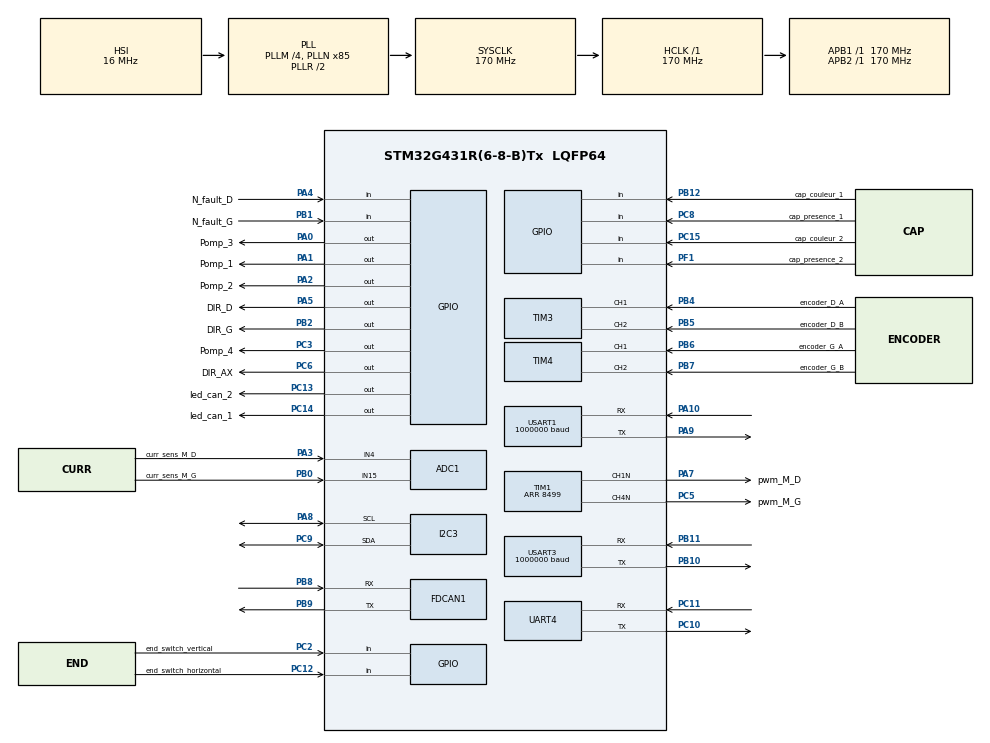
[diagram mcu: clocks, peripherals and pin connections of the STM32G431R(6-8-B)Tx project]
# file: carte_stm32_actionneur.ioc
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ADC1.Channel-1\#ChannelRegularConversion=ADC_CHANNEL_4
ADC1.NbrOfConversionFlag=1
ADC1.OffsetNumber-1\#ChannelRegularConversion=ADC_OFFSET_NONE
ADC1.Rank-1\#ChannelRegularConversion=1
ADC1.SamplingTime-1\#ChannelRegularConversion=ADC_SAMPLETIME_2CYCLES_5
ADC1.master=1
FDCAN1.CalculateBaudRateNominal=499999
FDCAN1.CalculateTimeBitNominal=2000
FDCAN1.CalculateTimeQuantumNominal=23.529411764705884
FDCAN1.DataPrescaler=10
FDCAN1.DataSyncJumpWidth=11
FDCAN1.DataTimeSeg1=22
FDCAN1.DataTimeSeg2=11
FDCAN1.NominalPrescaler=4
FDCAN1.NominalSyncJumpWidth=28
FDCAN1.NominalTimeSeg1=56
FDCAN1.NominalTimeSeg2=28
I2C3.Timing=0x40B285C2
Mcu.Family=STM32G4
Mcu.Name=STM32G431R(6-8-B)Tx
Mcu.Package=LQFP64
NVIC.FDCAN1_IT0_IRQn=true\:0\:0\:false\:false\:true\:true\:true\:true
NVIC.FDCAN1_IT1_IRQn=true\:0\:0\:false\:false\:true\:true\:true\:true
NVIC.PriorityGroup=NVIC_PRIORITYGROUP_4
NVIC.TIM2_IRQn=true\:0\:0\:false\:false\:true\:true\:true\:true
NVIC.TIM6_DAC_IRQn=true\:0\:0\:false\:false\:true\:true\:true\:true
NVIC.USART3_IRQn=true\:0\:0\:false\:false\:true\:true\:true\:true
PA0.GPIO_Label=Pomp_3
PA0.Signal=GPIO_Output
PA1.GPIO_Label=Pomp_1
PA1.Signal=GPIO_Output
PA10.Mode=Asynchronous
PA10.Signal=USART1_RX
PA13.Mode=Serial_Wire
PA13.Signal=SYS_JTMS-SWDIO
PA14.Mode=Serial_Wire
PA14.Signal=SYS_JTCK-SWCLK
PA2.GPIO_Label=Pomp_2
PA2.Signal=GPIO_Output
PA3.GPIO_Label=curr_sens_M_D
PA3.Mode=IN4-Single-Ended
PA3.Signal=ADC1_IN4
PA4.GPIO_Label=N_fault_D
PA4.Signal=GPIO_Input
PA5.GPIO_Label=DIR_D
PA5.Signal=GPIO_Output
PA7.GPIO_Label=pwm_M_D
PA7.Mode=PWM Generation1 CH1N
PA7.Signal=TIM1_CH1N
PA8.Mode=I2C
PA8.Signal=I2C3_SCL
PA9.Mode=Asynchronous
PA9.Signal=USART1_TX
PB0.GPIO_Label=curr_sens_M_G
PB0.Mode=IN15-Single-Ended
PB0.Signal=ADC1_IN15
PB1.GPIO_Label=N_fault_G
PB1.Signal=GPIO_Input
PB10.Mode=Asynchronous
PB10.Signal=USART3_TX
PB11.Mode=Asynchronous
PB11.Signal=USART3_RX
PB12.GPIO_Label=cap_couleur_1
PB12.Signal=GPIO_Input
PB2.GPIO_Label=DIR_G
PB2.Signal=GPIO_Output
PB4.GPIO_Label=encoder_D_A
PB4.GPIO_PuPd=GPIO_PULLDOWN
PB4.Signal=S_TIM3_CH1
PB5.GPIO_Label=encoder_D_B
PB5.GPIO_PuPd=GPIO_PULLDOWN
PB5.Signal=S_TIM3_CH2
PB6.GPIO_Label=encoder_G_A
PB6.GPIO_PuPd=GPIO_PULLDOWN
PB6.Signal=S_TIM4_CH1
PB7.GPIO_Label=encoder_G_B
PB7.GPIO_PuPd=GPIO_PULLDOWN
PB7.Signal=S_TIM4_CH2
PB8-BOOT0.Mode=FDCAN_Activate
PB8-BOOT0.Signal=FDCAN1_RX
PB9.Mode=FDCAN_Activate
PB9.Signal=FDCAN1_TX
PC10.Mode=Asynchronous
PC10.Signal=UART4_TX
PC11.Mode=Asynchronous
PC11.Signal=UART4_RX
PC12.GPIO_Label=end_switch_horizontal
PC12.Signal=GPIO_Input
PC13.GPIO_Label=led_can_2
PC13.PinState=GPIO_PIN_SET
PC13.Signal=GPIO_Output
PC14-OSC32_IN.GPIO_Label=led_can_1
PC14-OSC32_IN.PinState=GPIO_PIN_SET
PC14-OSC32_IN.Signal=GPIO_Output
PC15-OSC32_OUT.GPIO_Label=cap_couleur_2
PC15-OSC32_OUT.Signal=GPIO_Input
PC2.GPIO_Label=end_switch_vertical
PC2.GPIO_PuPd=GPIO_PULLDOWN
PC2.Signal=GPIO_Input
PC3.GPIO_Label=Pomp_4
PC3.Signal=GPIO_Output
PC5.GPIO_Label=pwm_M_G
PC5.Mode=PWM Generation4 CH4N
PC5.Signal=TIM1_CH4N
PC6.GPIO_Label=DIR_AX
PC6.Signal=GPIO_Output
PC8.GPIO_Label=cap_presence_1
PC8.Signal=GPIO_Input
PC9.Mode=I2C
PC9.Signal=I2C3_SDA
PF0-OSC_IN.Mode=HSE-External-Clock-Source
PF0-OSC_IN.Signal=RCC_OSC_IN
PF1-OSC_OUT.GPIO_Label=cap_presence_2
PF1-OSC_OUT.GPIO_PuPd=GPIO_PULLDOWN
PF1-OSC_OUT.Signal=GPIO_Input
ProjectManager.HeapSize=0x200
ProjectManager.StackSize=0x400
ProjectManager.TargetToolchain=STM32CubeIDE
RCC.ADC12Freq_Value=170000000
RCC.AHBFreq_Value=170000000
RCC.APB1Freq_Value=170000000
RCC.APB1TimFreq_Value=170000000
RCC.APB2Freq_Value=170000000
RCC.APB2TimFreq_Value=170000000
RCC.CortexFreq_Value=170000000
RCC.EXTERNAL_CLOCK_VALUE=12288000
RCC.HCLKFreq_Value=170000000
RCC.HSE_VALUE=8000000
RCC.HSI48_VALUE=48000000
RCC.HSI_VALUE=16000000
RCC.LSE_VALUE=32768
RCC.PLLM=RCC_PLLM_DIV4
RCC.PLLN=85
RCC.PLLQ=RCC_PLLQ_DIV4
RCC.SYSCLKFreq_VALUE=170000000
RCC.SYSCLKSource=RCC_SYSCLKSOURCE_PLLCLK
RCC.USBFreq_Value=85000000
RCC.VCOOutputFreq_Value=340000000
SH.S_TIM3_CH1.0=TIM3_CH1,Encoder_Interface
SH.S_TIM3_CH2.0=TIM3_CH2,Encoder_Interface
SH.S_TIM4_CH1.0=TIM4_CH1,Encoder_Interface
SH.S_TIM4_CH2.0=TIM4_CH2,Encoder_Interface
TIM1.Channel-PWM\ Generation1\ CH1N=TIM_CHANNEL_1
TIM1.Channel-PWM\ Generation4\ CH4N=TIM_CHANNEL_4
TIM1.PeriodNoDither=8499
TIM2.AutoReloadPreload=TIM_AUTORELOAD_PRELOAD_DISABLE
TIM2.PeriodNoDither=9999
TIM2.Prescaler=169
TIM3.AutoReloadPreload=TIM_AUTORELOAD_PRELOAD_ENABLE
TIM3.EncoderMode=TIM_ENCODERMODE_TI12
TIM4.EncoderMode=TIM_ENCODERMODE_TI12
TIM6.PeriodNoDither=1000
TIM6.Prescaler=169
USART1.BaudRate=1000000
USART1.VirtualMode-Asynchronous=VM_ASYNC
USART3.BaudRate=1000000
USART3.VirtualMode-Asynchronous=VM_ASYNC
VP_SYS_VS_DBSignals.Mode=DisableDeadBatterySignals
VP_TIM2_VS_ClockSourceINT.Mode=Internal
VP_TIM6_VS_ClockSourceINT.Mode=Enable_Timer
board=custom

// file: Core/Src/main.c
/* USER CODE BEGIN Header */
/**
  ******************************************************************************
  * @file           : main.c
  * @brief          : Main program body
  ******************************************************************************
  * @attention
  *
  * Copyright (c) 2025 STMicroelectronics.
  * All rights reserved.
  *
  * This software is licensed under terms that can be found in the LICENSE file
  * in the root directory of this software component.
  * If no LICENSE file comes with this software, it is provided AS-IS.
  *
  ******************************************************************************
  */
/* USER CODE END Header */
#include "main.h"
#include "adc.h"
#include "fdcan.h"
#include "i2c.h"
#include "tim.h"
#include "usart.h"
#include "gpio.h"

/* USER CODE BEGIN Includes */
# include "stdio.h"
# include <inttypes.h>
//# include "movement_statemachine.h"
# include "robot_data.h"
# include "motors.h"
# include "motor_asserv.h"
# include "pid_config.h"
# include "recorder.h"
# include "ax_controller.h"
# include "mv_statemachine.h"
# include "mv_statemachine_states.h"
# include "elevator_states.h"
# include "sequencer.h"
# include "robot_sequences.h"
# include "i2c_servo_moteur.h"

#include "CO_app_STM32.h"
#include "OD.h"
#include "CANopen.h"
#include "can_debug.h"
#include "canopen_command_processor.h"
/* USER CODE END Includes */

/* USER CODE BEGIN PV */
GPIO_PinState pin_a;
GPIO_PinState pin_b;
bool toggle = false;

// Variables pour la réception CAN bas niveau
FDCAN_RxHeaderTypeDef RxHeader;
uint8_t RxData[8];

ODR_t error_obj_assign;
int test_int;
/* USER CODE END PV */

void SystemClock_Config(void);
/* USER CODE BEGIN PFP */
# define PUTCHAR_PROTOTYPE int __io_putchar(int ch)
/* USER CODE END PFP */

/* USER CODE BEGIN 0 */

PUTCHAR_PROTOTYPE
{
	HAL_UART_Transmit(&huart1, (uint8_t*)&ch, 1, 0xFFFF);
	return ch;
}

/* USER CODE END 0 */

int main(void)
{

  /* MCU Configuration--------------------------------------------------------*/

  /* Reset of all peripherals, Initializes the Flash interface and the Systick. */
  HAL_Init();

  /* Configure the system clock */
  SystemClock_Config();

  /* Initialize all configured peripherals */
  MX_GPIO_Init();
  MX_ADC1_Init();
  MX_FDCAN1_Init();
  MX_TIM1_Init();
  MX_TIM3_Init();
  MX_TIM4_Init();
  MX_UART4_Init();
  MX_USART3_UART_Init();
  MX_TIM2_Init();
  MX_TIM6_Init();
  MX_I2C3_Init();
  MX_USART1_UART_Init();
  /* USER CODE BEGIN 2 */
  printf("woke up");

  HAL_TIM_Encoder_Start(&htim3, TIM_CHANNEL_ALL); // right
  HAL_TIM_Encoder_Start(&htim4, TIM_CHANNEL_ALL); // left

  HAL_TIM_PWM_Init(&htim1); // init the pwm for the motors
  HAL_TIMEx_PWMN_Start(&htim1, TIM_CHANNEL_1);
  HAL_TIMEx_PWMN_Start(&htim1, TIM_CHANNEL_4);

  ////////////
  // CONFIG CAN //
  //////////
  CANopenNodeSTM32 canopenNodeSTM32;
  canopenNodeSTM32.CANHandle = &hfdcan1;
  canopenNodeSTM32.HWInitFunction = MX_FDCAN1_Init;
  canopenNodeSTM32.timerHandle = &htim6;
  canopenNodeSTM32.desiredNodeID = 2;
  canopenNodeSTM32.baudrate = 500; //  ce parametre ne ser à rien, c'est comme le tuto.
  canopen_app_init(&canopenNodeSTM32);

  // ça sert à quoi ça ???
  HAL_GPIO_WritePin(GPIOA, GPIO_PIN_10, GPIO_PIN_RESET);
  HAL_GPIO_WritePin(GPIOC, GPIO_PIN_6, GPIO_PIN_RESET);

  robot_data_init();

  HAL_Delay(500);
  servo_init(&hi2c3);
  reset_tobogan(NULL);

  MV_STATEMACHINE = MSM_init(); // je devrais pouvoi retirer cela.
  elevator_V_statemachine = MSM_init();
  elevator_H_statemachine = MSM_init();

  // Initialisation du séquenceur principal
  extern struct Sequencer main_sequencer;
  main_sequencer = sequencer_init();
  sequencer_set_idle(&main_sequencer, &elevator_V_statemachine, &ELV_STATE_HOLD_V, genenv_elv_hold_v());
  sequencer_set_idle(&main_sequencer, &elevator_H_statemachine, &ELV_STATE_HOLD_H, genenv_elv_hold_h());

  // Initialisation du processeur de commandes CANopen
  canopen_cmd_init(&main_sequencer);

  // ========== TEST MANUEL DES MOUVEMENTS ==========
  // Décommenter pour tester les mouvements sans CANopen

  // position de l'ax_caca
  ax_caca_calage(NULL);
  HAL_Delay(100);
  //position de l'ax curseur
  ax_fermeture_cursor(NULL);
  HAL_Delay(100);
  // porte fermer
  servo_porte_fermer(NULL);
  HAL_Delay(100);

  // 1. Homing (mise à l'origine)
  canopen_update_status(CMD_STATUS_RUNNING, CMD_HOMING, 0, CMD_ERROR_NONE);
  canopen_signal_sequence_started(CMD_HOMING, 0);

  //seq_build_homing_all(&main_sequencer, 13.0f, 13.0f);
  //sequencer_start(&main_sequencer);

  // 2. Déplacement horizontal après le homing
  //seq_deplacement_H(&main_sequencer, -100.0f);
  //sequencer_add_gpio(&main_sequencer, Pomp_4_GPIO_Port, Pomp_4_Pin, GPIO_PIN_SET);
  // 3. Pour tester d'autres mouvements, ajouter ici:
  // seq_build_grab(&main_sequencer, 50.0f, 20.0f);  // Exemple: grab à V=50mm, H=20mm
  // seq_build_deposit(&main_sequencer, 80.0f, 40.0f);  // Exemple: deposit à V=80mm, H=40mm
  // ================================================

  // Enable CAN debug logging
  can_debug_enable_rx_logging(false);  // Set to false to disable automatic logging
  can_debug_print_canopen_detailed(&canopenNodeSTM32);

  HAL_TIM_Base_Start_IT(&htim2);

  /* USER CODE END 2 */

  /* Infinite loop */
  /* USER CODE BEGIN WHILE */
  while (1)
  {
    // Traitement CANopen (RPDO/TPDO)
    canopen_app_process();

    // Traitement des commandes reçues via CANopen
    canopen_cmd_process();

    // Mise à jour des LEDs CANopen
    HAL_GPIO_WritePin(led_can_1_GPIO_Port, led_can_1_Pin, !canopenNodeSTM32.outStatusLEDGreen);
    HAL_GPIO_WritePin(led_can_2_GPIO_Port, led_can_2_Pin, !canopenNodeSTM32.outStatusLEDRed);

    // Debug: Surveillance des changements RPDO
    //can_debug_monitor_rpdo_changes();
    //CO_TPDOsendRequest(&canopenNodeSTM32.canOpenStack->TPDO[0]);

    // pose ax serage
    /*
    ax_write_position(7,510);
    HAL_Delay(5);
    ax_write_position(6,510);
    HAL_Delay(5);
    */

    /*
    printf("RPDO1: ACTION_ID=%u p1=%d p2=%d p3=%d\n\r",
       OD_RAM.x2000_ACTION_ID,
       OD_RAM.x2001_param_1,
       OD_RAM.x2002_param_2,
       OD_RAM.x2003_param_3);
    */
    //printf("ActionID %d \r\n",OD_RAM.x2000_ACTION_ID);

    // Test bas niveau : vérifier si une trame CAN est reçue

    /*
    if (HAL_FDCAN_GetRxFifoFillLevel(&hfdcan1, FDCAN_RX_FIFO0) > 0)
    {
      // Lire le message
      if (HAL_FDCAN_GetRxMessage(&hfdcan1, FDCAN_RX_FIFO0, &RxHeader, RxData) == HAL_OK)
      {
        // Afficher la trame reçue
        printf("[HAL_CAN] _______ID=0x%03lX DLC=%lu DATA=[ ", RxHeader.Identifier,
               (RxHeader.DataLength >> 16));
        for (uint8_t i = 0; i < 8; i++) {
          printf("%02X ", RxData[i]);
        }
        printf("]\n");
      }
    }
    */

    /* USER CODE END WHILE */

    /* USER CODE BEGIN 3 */

    //Encoder16Update(&encoder_R);

    /*
    printf("R pos ");
    printf("%"PRIi32"\n", encoder_R.total_count);
    printf("delta %"PRIi32"\n", encoder_R.total_count_delta);
    printf("pwm ccr %"PRIu32"\n", *motor_R.pwm_ccr);
    printf("R rollovers %"PRIi32"\n", encoder_R.rollover_count);
    printf("R situation %"PRIu32"\n", encoder_R.situation);
    printf("R encoder register %"PRIu32"\n", TIM3->CNT);

    printf("L pos ");
    printf("%"PRIi32"\n", encoder_L.total_count);
    printf("delta %"PRIi32"\n", encoder_L.total_count_delta);
    printf("pwm ccr %"PRIu32"\n", *motor_L.pwm_ccr);
    printf("L rollovers %"PRIi32"\n", encoder_L.rollover_count);
    printf("L situation %"PRIu32"\n", encoder_L.situation);
    printf("L encoder register %"PRIu32"\n", TIM4->CNT);
    */

    /*
    if (trig_count == 25)
    {
      printf("Encoder R : \n");
      Encoder16PrintStatus(encoder_R);
      printf("Encoder L : \n");
      Encoder16PrintStatus(encoder_L);
      trig_count = 0;
    }
    */

    //printf("a\n");
    //ax_write_position(2, 20);

    /*
    if (recorder_is_track_full(0))
    {
      recorder_print_recorded_data(0);
      HAL_Delay(20000);
    }
    */

    //MSM_update(100);
    //HAL_UART_Transmit(&huart4, "m\n", 2, 1000);
    //movement_statemachine_update();
    //HAL_GPIO_TogglePin(GPIOA, GPIO_PIN_5);
    //Encoder16Update(&encoder_R);
    //motor_drive_pid(1000, 0.0f, motor_R, encoder_R, pid_motor_R, &pid_motor_R_runtime);
    //motor_drive(motor_R, -20);
    //MSM_update(10);

    /*
    if (MSM_busy() == 0)
    {
      //if (toggle) MSM_begin_recalibration(1, 15000, 20, POSITIVE_X);
      if (toggle) MSM_begin_translation(500, 0.02, 0.00005);
      else MSM_begin_translation(-500, 0.02, 0.00005);
      toggle = !toggle;
    }
      */
    //printf("R encoder register %"PRIu32"\n\r", TIM3->CNT);
  }
  /* USER CODE END 3 */
}

void SystemClock_Config(void)
{
  RCC_OscInitTypeDef RCC_OscInitStruct = {0};
  RCC_ClkInitTypeDef RCC_ClkInitStruct = {0};

  /** Configure the main internal regulator output voltage
  */
  HAL_PWREx_ControlVoltageScaling(PWR_REGULATOR_VOLTAGE_SCALE1_BOOST);

  /** Initializes the RCC Oscillators according to the specified parameters
  * in the RCC_OscInitTypeDef structure.
  */
  RCC_OscInitStruct.OscillatorType = RCC_OSCILLATORTYPE_HSI;
  RCC_OscInitStruct.HSIState = RCC_HSI_ON;
  RCC_OscInitStruct.HSICalibrationValue = RCC_HSICALIBRATION_DEFAULT;
  RCC_OscInitStruct.PLL.PLLState = RCC_PLL_ON;
  RCC_OscInitStruct.PLL.PLLSource = RCC_PLLSOURCE_HSI;
  RCC_OscInitStruct.PLL.PLLM = RCC_PLLM_DIV4;
  RCC_OscInitStruct.PLL.PLLN = 85;
  RCC_OscInitStruct.PLL.PLLP = RCC_PLLP_DIV2;
  RCC_OscInitStruct.PLL.PLLQ = RCC_PLLQ_DIV4;
  RCC_OscInitStruct.PLL.PLLR = RCC_PLLR_DIV2;
  if (HAL_RCC_OscConfig(&RCC_OscInitStruct) != HAL_OK)
  {
    Error_Handler();
  }

  /** Initializes the CPU, AHB and APB buses clocks
  */
  RCC_ClkInitStruct.ClockType = RCC_CLOCKTYPE_HCLK|RCC_CLOCKTYPE_SYSCLK
                              |RCC_CLOCKTYPE_PCLK1|RCC_CLOCKTYPE_PCLK2;
  RCC_ClkInitStruct.SYSCLKSource = RCC_SYSCLKSOURCE_PLLCLK;
  RCC_ClkInitStruct.AHBCLKDivider = RCC_SYSCLK_DIV1;
  RCC_ClkInitStruct.APB1CLKDivider = RCC_HCLK_DIV1;
  RCC_ClkInitStruct.APB2CLKDivider = RCC_HCLK_DIV1;

  if (HAL_RCC_ClockConfig(&RCC_ClkInitStruct, FLASH_LATENCY_4) != HAL_OK)
  {
    Error_Handler();
  }
}

void Error_Handler(void)
{
  __disable_irq();
  while (1)
  {
  }
}
